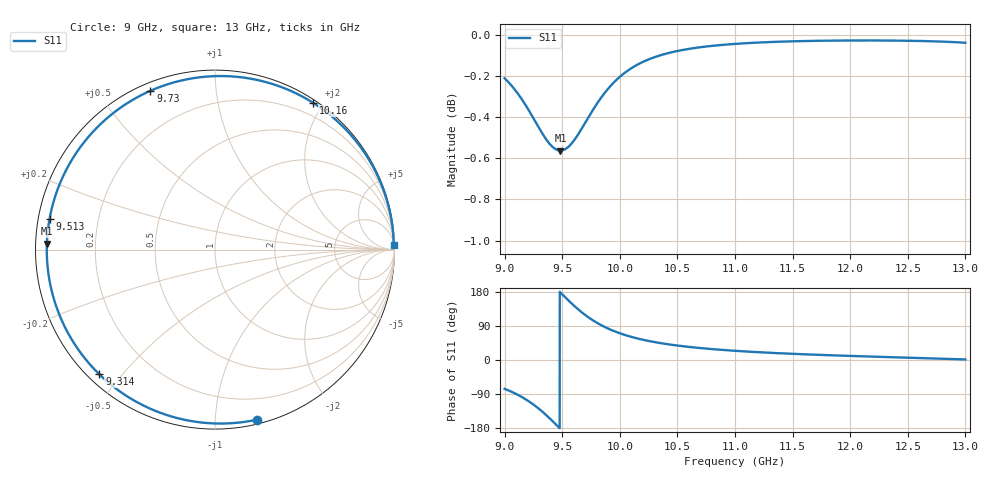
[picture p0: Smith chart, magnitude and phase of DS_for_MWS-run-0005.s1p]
! TOUCHSTONE file generated by CST DESIGN STUDIO
! Date and time: Tue Feb  4 15:59:42 2025
! Project name: C:\Work\MatlabApps\UnitCellOptimizationMatlab\CST\unitcell.cst
! Tree item: Tasks\Sweep1\SPara1\S-Parameters
! Header version: 2024
! Port assignment regex: !\s*Touchstone port\s*([0-9]+)\s*=\s*(CST MWS port|CST DES external port|CST DES block port)\s*(.+)\s* \(\"(.*)\"\)(\s*mode\s*([0-9]+))?.*
! Touchstone port assignment:
! Touchstone port 1 = CST DES external port 1 ("")
# GHz S MA R 50
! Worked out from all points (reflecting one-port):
!   4001 points, 9 GHz to 13 GHz, reference 50 ohm
!   lowest |S11| = -0.6 dB at 9.485 GHz (marker M1), VSWR 30.90, Z = 1.62 + j0.878 ohm
!   phase of S11 starts at -76 deg and turns -282 deg over the sweep
!   S11 on the Smith chart (normalised r, x): 9 GHz: 0.03, -1.28; 9.314 GHz: 0.03, -0.44; 9.513 GHz: 0.03, +0.09; 9.73 GHz: 0.03, +0.67; 10.16 GHz: 0.04, +1.87; 13 GHz: 13, +74
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9  0.976 -76.1
9.081  0.9704 -86.7
9.18  0.9617 -103.1
9.25  0.9544 -117.5
9.314  0.9477 -132.8
9.359  0.9434 -144.8
9.407  0.9398 -158.5
9.447  0.9379 -170.5
9.485  0.9373 178.0
9.5  0.9374 173.4
9.513  0.9376 169.5
9.565  0.9399 154.0
9.625  0.9446 137.3
9.677  0.9497 124.1
9.73  0.9551 112.1
9.784  0.9605 101.3
9.844  0.966 91.0
9.921  0.9719 79.9
10  0.9768 70.5
10.162  0.9838 56.2
10.315  0.9879 46.6
10.5  0.991 38.1
10.722  0.9933 30.8
11  0.995 24.3
11.5  0.9964 16.3
12  0.9968 10.7
12.5  0.9967 6.1
13  0.9956 1.5
